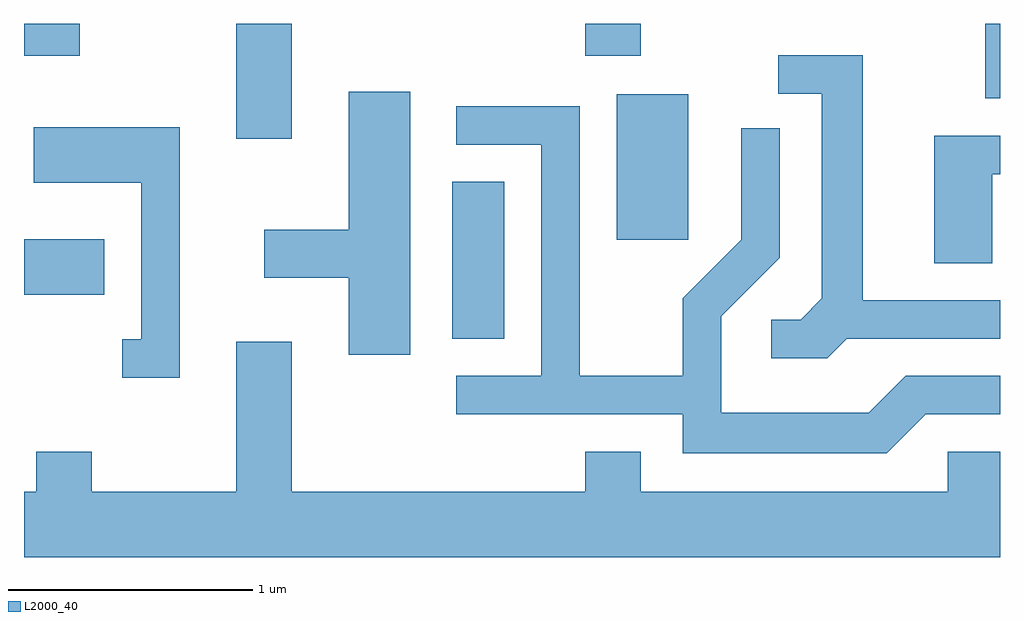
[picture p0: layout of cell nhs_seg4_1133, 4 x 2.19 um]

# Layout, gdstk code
import gdstk
lib = gdstk.Library(unit=1e-6, precision=1e-09)
def R(c, l, rs):  # rectangles x0, y0, x1, y1
    for r in rs: c.add(gdstk.rectangle(r[:2], r[2:], *l))
def P(c, l, *ps):  # polygons
    for p in ps: c.add(gdstk.Polygon(p, *l))
L2000_40 = (2000, 40)

nhs_seg4_1133 = lib.new_cell('nhs_seg4_1133')
R(nhs_seg4_1133, L2000_40, [(219.366,1346.691,219.579,1347.334), (217.611,1346.871,217.939,1347.099), (220.041,1347.096,220.334,1347.694), (218.481,1347.511,218.709,1347.982), (221.551,1347.676,221.611,1347.982), (217.611,1347.851,217.839,1347.982), (219.911,1347.851,220.139,1347.982)])
P(nhs_seg4_1133, L2000_40, [(220.982,1346.691),(221.611,1346.691),(221.611,1346.849),(221.049,1346.849),(221.049,1347.854),(220.703,1347.854),(220.703,1347.696),(220.881,1347.696),(220.881,1346.857),(220.794,1346.769),(220.673,1346.769),(220.673,1346.611),(220.902,1346.611)],
  [(219.194,1347.704),(218.941,1347.704),(218.941,1347.139),(218.596,1347.139),(218.596,1346.941),(218.941,1346.941),(218.941,1346.626),(219.194,1346.626)],
  [(221.307,1346.381),(221.611,1346.381),(221.611,1346.539),(221.224,1346.539),(221.074,1346.389),(220.469,1346.389),(220.469,1346.784),(220.709,1347.024),(220.709,1347.553),(220.551,1347.553),(220.551,1347.097),(220.311,1346.857),(220.311,1346.539),(219.889,1346.539),(219.889,1347.644),(219.383,1347.644),(219.383,1347.486),(219.731,1347.486),(219.731,1346.539),(219.383,1346.539),(219.383,1346.381),(220.311,1346.381),(220.311,1346.221),(221.147,1346.221)],
  [(218.249,1347.559),(217.651,1347.559),(217.651,1347.331),(218.091,1347.331),(218.091,1346.689),(218.013,1346.689),(218.013,1346.531),(218.249,1346.531)],
  [(221.579,1347.366),(221.611,1347.366),(221.611,1347.524),(221.341,1347.524),(221.341,1347.001),(221.579,1347.001)],
  [(221.611,1346.229),(221.396,1346.229),(221.396,1346.064),(220.139,1346.064),(220.139,1346.229),(219.911,1346.229),(219.911,1346.064),(218.709,1346.064),(218.709,1346.679),(218.481,1346.679),(218.481,1346.064),(217.889,1346.064),(217.889,1346.229),(217.661,1346.229),(217.661,1346.064),(217.611,1346.064),(217.611,1345.796),(221.611,1345.796)])

lib.write_gds('nhs_seg4_1133.gds')
